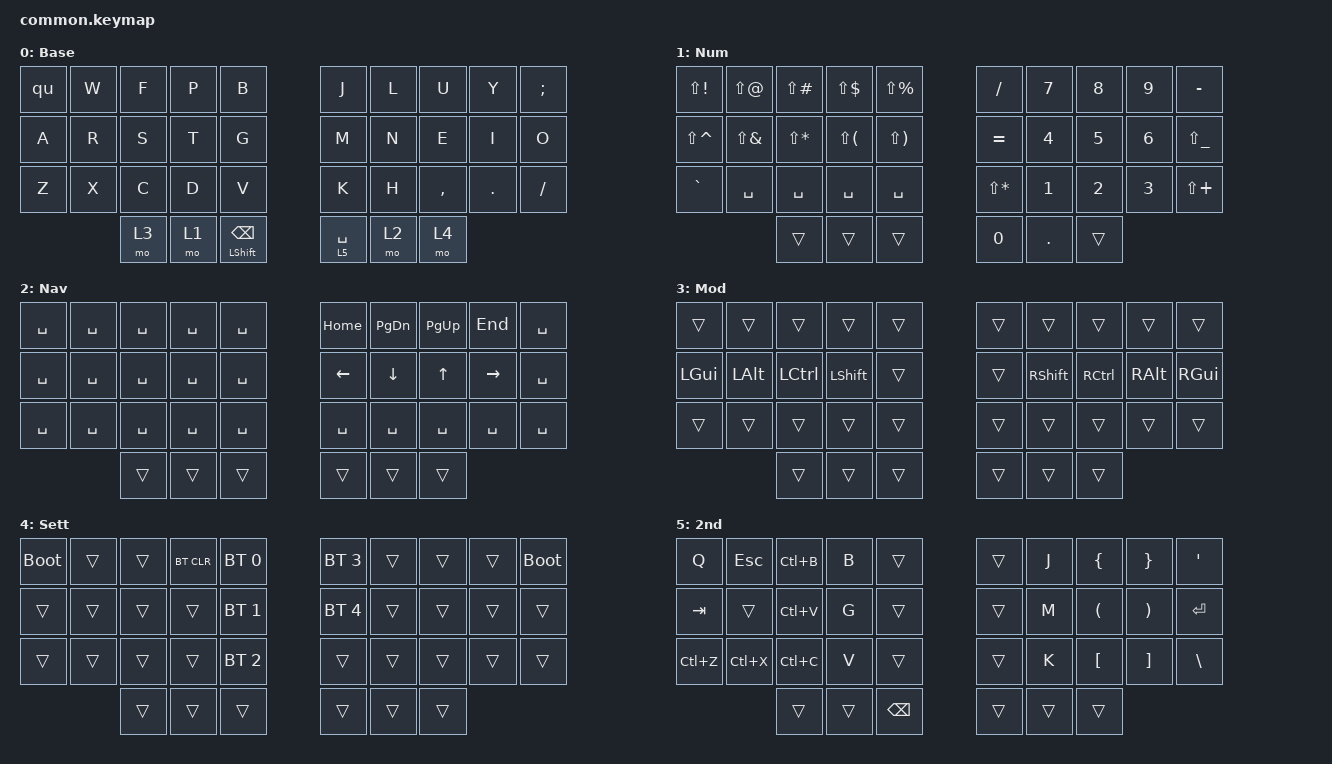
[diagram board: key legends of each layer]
#include <behaviors.dtsi>
#include <dt-bindings/zmk/bt.h>
#include <dt-bindings/zmk/keys.h>

/ {
    behaviors {
        hl: homerow_mods_left {
            compatible = "zmk,behavior-hold-tap";
            label = "homerow mods left";
            #binding-cells = <2>;
            flavor = "balanced";
            tapping-term-ms = <200>;
            hold-while-undecided;
            bindings = <&kp>, <&kp>;

            hold-trigger-key-positions = <5 6 7 8 9 15 16 17 18 19 25 26 27 28 29 30 31 32 33 34 35>;
        };

        hr: homerow_mods_right {
            compatible = "zmk,behavior-hold-tap";
            label = "homerow mods right";
            #binding-cells = <2>;
            flavor = "balanced";
            tapping-term-ms = <200>;
            hold-while-undecided;
            bindings = <&kp>, <&kp>;

            hold-trigger-key-positions = <0 1 2 3 4 10 11 12 13 14 20 21 22 23 24 30 31 32 33 34 35>;
        };
    };

    combos {
        compatible = "zmk,combos";

        combo_esc {
            timeout-ms = <50>;
            layers = <0>;
            key-positions = <1 2>;
            bindings = <&kp ESC>;
        };

        combo_tab {
            timeout-ms = <50>;
            layers = <0>;
            key-positions = <23 24>;
            bindings = <&kp TAB>;
        };

        combo_settings_left {
            bindings = <&mo 4>;
            key-positions = <30 31>;
        };

        combo_settings_right {
            bindings = <&mo 4>;
            key-positions = <35 34>;
        };

        combo_capsword {
            bindings = <&caps_word>;
            key-positions = <22 21>;
        };

        combo_enter {
            bindings = <&kp ENTER>;
            key-positions = <27 26>;
        };

        combo_quote {
            bindings = <&kp APOS>;
            key-positions = <8 7>;
        };

        combo_wh {
            bindings = <&wh>;
            key-positions = <1 16>;
        };

        combo_th {
            bindings = <&th>;
            key-positions = <12 13>;
        };

        combo_ing {
            bindings = <&ing>;
            key-positions = <18 17>;
        };

        combo_ch {
            bindings = <&ch>;
            key-positions = <22 16>;
        };

        combo_sh {
            bindings = <&sh>;
            key-positions = <16 12>;
        };

        combo_ck {
            bindings = <&ck>;
            key-positions = <16 2>;
        };

        combo_gh {
            bindings = <&gh>;
            key-positions = <16 13>;
        };

        combo_ou {
            bindings = <&ou>;
            key-positions = <19 18>;
        };

        combo_ion {
            bindings = <&ion>;
            key-positions = <18 16>;
        };

        combo_able {
            bindings = <&able>;
            key-positions = <10 13>;
        };

        combo_b {
            bindings = <&kp B>;
            key-positions = <0 10>;
        };

        combo_v {
            bindings = <&kp V>;
            key-positions = <11 1>;
        };

        combo_j {
            bindings = <&kp J>;
            key-positions = <9 19>;
        };

        combo_k {
            bindings = <&kp K>;
            key-positions = <8 18>;
        };

        combo_g {
            bindings = <&kp G>;
            key-positions = <13 3>;
        };

        combo_m {
            bindings = <&kp M>;
            key-positions = <6 16>;
        };
    };

    macros {
        qu: macro_qu {
            compatible = "zmk,behavior-macro";
            #binding-cells = <0>;
            bindings =
                <&macro_tap>,
                <&kp Q>,
                <&macro_release>,
                <&kp LC(LSHIFT) &kp LC(RSHIFT)>,
                <&macro_tap>,
                <&kp U>;

            label = "MACRO_QU";
        };

        wh: wh {
            compatible = "zmk,behavior-macro";
            #binding-cells = <0>;
            bindings =
                <&macro_tap>,
                <&kp W>,
                <&macro_release>,
                <&kp LC(LSHIFT) &kp LC(RSHIFT)>,
                <&macro_tap>,
                <&kp H>;

            label = "WH";
        };

        th: th {
            compatible = "zmk,behavior-macro";
            #binding-cells = <0>;
            bindings =
                <&macro_tap>,
                <&kp T>,
                <&macro_release>,
                <&kp LC(LSHIFT) &kp LC(RSHIFT)>,
                <&macro_tap>,
                <&kp H>;

            label = "TH";
        };

        ing: ing {
            compatible = "zmk,behavior-macro";
            #binding-cells = <0>;
            bindings = <&kp I &kp N &kp G>;
            label = "ING";
        };

        ch: ch {
            compatible = "zmk,behavior-macro";
            #binding-cells = <0>;
            bindings =
                <&macro_tap>,
                <&kp C>,
                <&macro_release>,
                <&kp LC(LSHIFT) &kp LC(RSHIFT)>,
                <&macro_tap>,
                <&kp H>;

            label = "CH";
        };

        sh: sh {
            compatible = "zmk,behavior-macro";
            #binding-cells = <0>;
            bindings =
                <&macro_tap>,
                <&kp S>,
                <&macro_release>,
                <&kp LC(LSHIFT) &kp LC(RSHIFT)>,
                <&macro_tap>,
                <&kp H>;

            label = "SH";
        };

        ck: ck {
            compatible = "zmk,behavior-macro";
            #binding-cells = <0>;
            bindings =
                <&macro_tap>,
                <&kp C>,
                <&macro_release>,
                <&kp LC(LSHIFT) &kp LC(RSHIFT)>,
                <&macro_tap>,
                <&kp K>;

            label = "CK";
        };

        gh: gh {
            compatible = "zmk,behavior-macro";
            #binding-cells = <0>;
            bindings =
                <&macro_tap>,
                <&kp G>,
                <&macro_release>,
                <&kp LC(LSHIFT) &kp LC(RSHIFT)>,
                <&macro_tap>,
                <&kp H>;

            label = "GH";
        };

        ou: ou {
            compatible = "zmk,behavior-macro";
            #binding-cells = <0>;
            bindings =
                <&macro_tap>,
                <&kp O>,
                <&macro_release>,
                <&kp LC(LSHIFT) &kp LC(RSHIFT)>,
                <&macro_tap>,
                <&kp U>;

            label = "OU";
        };

        ion: ion {
            compatible = "zmk,behavior-macro";
            #binding-cells = <0>;
            bindings =
                <&macro_tap>,
                <&kp I>,
                <&macro_release>,
                <&kp LC(LSHIFT) &kp LC(RSHIFT)>,
                <&macro_tap>,
                <&kp O &kp N>;

            label = "ION";
        };

        ess: ess {
            compatible = "zmk,behavior-macro";
            #binding-cells = <0>;
            bindings =
                <&macro_tap>,
                <&kp E>,
                <&macro_release>,
                <&kp LC(LSHIFT) &kp LC(RSHIFT)>,
                <&macro_tap>,
                <&kp S &kp S>;

            label = "ESS";
        };

        est: est {
            compatible = "zmk,behavior-macro";
            #binding-cells = <0>;
            bindings =
                <&macro_tap>,
                <&kp E>,
                <&macro_release>,
                <&kp LC(LSHIFT) &kp LC(RSHIFT)>,
                <&macro_tap>,
                <&kp S &kp T>;

            label = "EST";
        };

        ist: ist {
            compatible = "zmk,behavior-macro";
            #binding-cells = <0>;
            bindings =
                <&macro_tap>,
                <&kp I>,
                <&macro_release>,
                <&kp LC(LSHIFT) &kp LC(RSHIFT)>,
                <&macro_tap>,
                <&kp S &kp T>;

            label = "IST";
        };

        able: able {
            compatible = "zmk,behavior-macro";
            #binding-cells = <0>;
            bindings =
                <&macro_tap>,
                <&kp A>,
                <&macro_release>,
                <&kp LC(LSHIFT) &kp LC(RSHIFT)>,
                <&macro_tap>,
                <&kp B &kp L &kp E>;

            label = "ABLE";
        };
    };

    keymap {
        compatible = "zmk,keymap";

        BASE_LAYER {
            bindings = <
&qu    &kp W  &kp F  &kp P  &kp B                &kp J        &kp L  &kp U      &kp Y    &kp SEMI
&kp A  &kp R  &kp S  &kp T  &kp G                &kp M        &kp N  &kp E      &kp I    &kp O
&kp Z  &kp X  &kp C  &kp D  &kp V                &kp K        &kp H  &kp COMMA  &kp DOT  &kp FSLH
              &mo 3  &mo 1  &mt LSHFT BACKSPACE  &lt 5 SPACE  &mo 2  &mo 4
            >;

            label = "Base";
        };

        NUM_LAYER {
            bindings = <
&kp LS(EXCL)   &kp LS(AT)    &kp LS(POUND)  &kp LS(DLLR)  &kp LS(PRCNT)  &kp FSLH      &kp N7   &kp N8  &kp N9  &kp MINUS
&kp LS(CARET)  &kp LS(AMPS)  &kp LS(STAR)   &kp LS(LPAR)  &kp LS(RPAR)   &kp EQUAL     &kp N4   &kp N5  &kp N6  &kp LS(UNDER)
&kp GRAVE      &kp SPACE     &kp SPACE      &kp SPACE     &kp SPACE      &kp LS(STAR)  &kp N1   &kp N2  &kp N3  &kp LS(PLUS)
                             &trans         &trans        &trans         &kp N0        &kp DOT  &trans
            >;

            label = "Num";
        };

        NAV_LAYER {
            bindings = <
&kp SPACE  &kp SPACE  &kp SPACE  &kp SPACE  &kp SPACE  &kp HOME   &kp PG_DN  &kp PG_UP  &kp END    &kp SPACE
&kp SPACE  &kp SPACE  &kp SPACE  &kp SPACE  &kp SPACE  &kp LEFT   &kp DOWN   &kp UP     &kp RIGHT  &kp SPACE
&kp SPACE  &kp SPACE  &kp SPACE  &kp SPACE  &kp SPACE  &kp SPACE  &kp SPACE  &kp SPACE  &kp SPACE  &kp SPACE
                      &trans     &trans     &trans     &trans     &trans     &trans
            >;

            label = "Nav";
        };

        MOD_LAYER {
            bindings = <
&trans    &trans    &trans     &trans     &trans  &trans  &trans     &trans     &trans    &trans
&kp LGUI  &kp LALT  &kp LCTRL  &kp LSHFT  &trans  &trans  &kp RSHFT  &kp RCTRL  &kp RALT  &kp RGUI
&trans    &trans    &trans     &trans     &trans  &trans  &trans     &trans     &trans    &trans
                    &trans     &trans     &trans  &trans  &trans     &trans
            >;

            label = "Mod";
        };

        SETTINGS_LAYER {
            bindings = <
&bootloader  &trans  &trans  &bt BT_CLR  &bt BT_SEL 0  &bt BT_SEL 3  &trans  &trans  &trans  &bootloader
&trans       &trans  &trans  &trans      &bt BT_SEL 1  &bt BT_SEL 4  &trans  &trans  &trans  &trans
&trans       &trans  &trans  &trans      &bt BT_SEL 2  &trans        &trans  &trans  &trans  &trans
                     &trans  &trans      &trans        &trans        &trans  &trans
            >;

            label = "Sett";
        };

        second_layer {
            bindings = <
&kp Q      &kp ESC    &kp LC(B)  &kp B   &trans         &trans  &kp J   &kp LEFT_BRACE  &kp RIGHT_BRACE  &kp APOS
&kp TAB    &trans     &kp LC(V)  &kp G   &trans         &trans  &kp M   &kp LPAR        &kp RPAR         &kp ENTER
&kp LC(Z)  &kp LC(X)  &kp LC(C)  &kp V   &trans         &trans  &kp K   &kp LBKT        &kp RBKT         &kp BSLH
                      &trans     &trans  &kp BACKSPACE  &trans  &trans  &trans
            >;

            label = "2nd";
        };
    };
};
